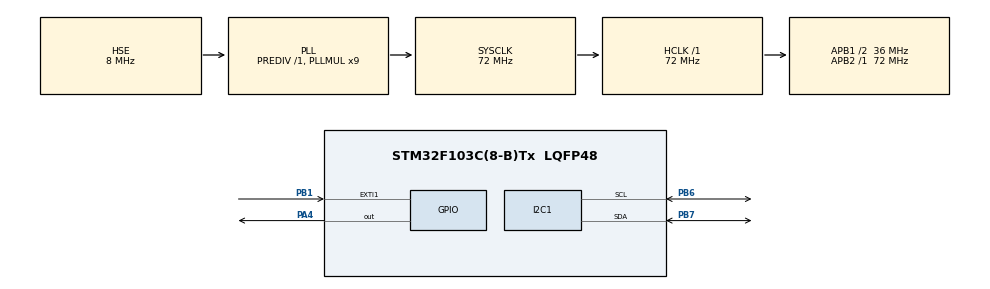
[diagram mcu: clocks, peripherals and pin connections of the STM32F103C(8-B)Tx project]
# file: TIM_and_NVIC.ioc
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Mcu.Family=STM32F1
Mcu.Name=STM32F103C(8-B)Tx
Mcu.Package=LQFP48
NVIC.EXTI1_IRQn=true\:15\:0\:true\:false\:true\:true\:true\:true
NVIC.PriorityGroup=NVIC_PRIORITYGROUP_4
NVIC.TIM2_IRQn=true\:0\:0\:false\:false\:true\:true\:true\:true
PA13.Mode=Serial_Wire
PA13.Signal=SYS_JTMS-SWDIO
PA14.Mode=Serial_Wire
PA14.Signal=SYS_JTCK-SWCLK
PA4.PinState=GPIO_PIN_SET
PA4.Signal=GPIO_Output
PB1.GPIO_ModeDefaultEXTI=GPIO_MODE_IT_FALLING
PB1.GPIO_PuPd=GPIO_PULLUP
PB1.Signal=GPXTI1
PB6.Mode=I2C
PB6.Signal=I2C1_SCL
PB7.Mode=I2C
PB7.Signal=I2C1_SDA
PD0-OSC_IN.Mode=HSE-External-Oscillator
PD0-OSC_IN.Signal=RCC_OSC_IN
PD1-OSC_OUT.Mode=HSE-External-Oscillator
PD1-OSC_OUT.Signal=RCC_OSC_OUT
ProjectManager.HeapSize=0x200
ProjectManager.StackSize=0x400
ProjectManager.TargetToolchain=STM32CubeIDE
RCC.AHBFreq_Value=72000000
RCC.APB1CLKDivider=RCC_HCLK_DIV2
RCC.APB1Freq_Value=36000000
RCC.APB1TimFreq_Value=72000000
RCC.APB2Freq_Value=72000000
RCC.APB2TimFreq_Value=72000000
RCC.HCLKFreq_Value=72000000
RCC.PLLMUL=RCC_PLL_MUL9
RCC.PLLSourceVirtual=RCC_PLLSOURCE_HSE
RCC.SYSCLKFreq_VALUE=72000000
RCC.SYSCLKSource=RCC_SYSCLKSOURCE_PLLCLK
RCC.USBFreq_Value=72000000
TIM2.AutoReloadPreload=TIM_AUTORELOAD_PRELOAD_ENABLE
TIM2.Period=10000-1
TIM2.Prescaler=7200-1
VP_TIM2_VS_ClockSourceINT.Mode=Internal
board=custom

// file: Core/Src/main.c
/* USER CODE BEGIN Header */
/**
  ******************************************************************************
  * @file           : main.c
  * @brief          : Main program body
  ******************************************************************************
  * @attention
  *
  * Copyright (c) 2025 STMicroelectronics.
  * All rights reserved.
  *
  * This software is licensed under terms that can be found in the LICENSE file
  * in the root directory of this software component.
  * If no LICENSE file comes with this software, it is provided AS-IS.
  *
  ******************************************************************************
  */
/* USER CODE END Header */
#include "main.h"
#include "i2c.h"
#include "tim.h"
#include "gpio.h"

/* USER CODE BEGIN Includes */
#include "oled.h"
#include<stdio.h>
#include<string.h>
/* USER CODE END Includes */

/* USER CODE BEGIN PTD */
typedef enum{
	MODE_1Hz = 0,
	MODE_05Hz,
	MODE_02Hz,
}MODE;
/* USER CODE END PTD */

/* USER CODE BEGIN PV */
int mode = 0;
char message[20] = "";
int modeARR[] = {10000-1,5000-1,2000-1};
int counter = 0;
/* USER CODE END PV */

void SystemClock_Config(void);

/* USER CODE BEGIN 0 */
void HAL_GPIO_EXTI_Callback(uint16_t GPIO_Pin)
{
	if(HAL_GPIO_ReadPin(GPIOB, GPIO_PIN_1) == GPIO_PIN_RESET){
		HAL_Delay(10);
		if(HAL_GPIO_ReadPin(GPIOB, GPIO_PIN_1) == GPIO_PIN_RESET){
			mode=(mode+1)%3;
			HAL_TIM_Base_Stop_IT(&htim2);
			__HAL_TIM_SET_AUTORELOAD(&htim2,modeARR[mode]);
			__HAL_TIM_SET_COUNTER(&htim2,0);
			HAL_TIM_Base_Start_IT(&htim2);
//			HAL_GPIO_TogglePin(GPIOA, GPIO_PIN_4);
		}
	}
}

void HAL_TIM_PeriodElapsedCallback(TIM_HandleTypeDef *htim)
{
	HAL_GPIO_TogglePin(GPIOA, GPIO_PIN_4);
}
/* USER CODE END 0 */

int main(void)
{

  /* MCU Configuration--------------------------------------------------------*/

  /* Reset of all peripherals, Initializes the Flash interface and the Systick. */
  HAL_Init();

  /* Configure the system clock */
  SystemClock_Config();

  /* Initialize all configured peripherals */
  MX_GPIO_Init();
  MX_TIM2_Init();
  MX_I2C1_Init();
  /* USER CODE BEGIN 2 */
  OLED_Init();
  HAL_TIM_Base_Start_IT(&htim2);
  /* USER CODE END 2 */

  /* Infinite loop */
  /* USER CODE BEGIN WHILE */
  while (1)
  {
	  counter = __HAL_TIM_GET_COUNTER(&htim2);
	  OLED_NewFrame();

	  sprintf(message,"mode: %d",mode);
	  OLED_PrintString(0, 0, message, &font16x16, OLED_COLOR_NORMAL);
	  sprintf(message,"counter: %d",counter);
	  OLED_PrintString(0, 20, message, &font16x16, OLED_COLOR_NORMAL);

	  OLED_ShowFrame();

    /* USER CODE END WHILE */

  }
}

void SystemClock_Config(void)
{
  RCC_OscInitTypeDef RCC_OscInitStruct = {0};
  RCC_ClkInitTypeDef RCC_ClkInitStruct = {0};

  /** Initializes the RCC Oscillators according to the specified parameters
  * in the RCC_OscInitTypeDef structure.
  */
  RCC_OscInitStruct.OscillatorType = RCC_OSCILLATORTYPE_HSE;
  RCC_OscInitStruct.HSEState = RCC_HSE_ON;
  RCC_OscInitStruct.HSEPredivValue = RCC_HSE_PREDIV_DIV1;
  RCC_OscInitStruct.HSIState = RCC_HSI_ON;
  RCC_OscInitStruct.PLL.PLLState = RCC_PLL_ON;
  RCC_OscInitStruct.PLL.PLLSource = RCC_PLLSOURCE_HSE;
  RCC_OscInitStruct.PLL.PLLMUL = RCC_PLL_MUL9;
  if (HAL_RCC_OscConfig(&RCC_OscInitStruct) != HAL_OK)
  {
    Error_Handler();
  }

  /** Initializes the CPU, AHB and APB buses clocks
  */
  RCC_ClkInitStruct.ClockType = RCC_CLOCKTYPE_HCLK|RCC_CLOCKTYPE_SYSCLK
                              |RCC_CLOCKTYPE_PCLK1|RCC_CLOCKTYPE_PCLK2;
  RCC_ClkInitStruct.SYSCLKSource = RCC_SYSCLKSOURCE_PLLCLK;
  RCC_ClkInitStruct.AHBCLKDivider = RCC_SYSCLK_DIV1;
  RCC_ClkInitStruct.APB1CLKDivider = RCC_HCLK_DIV2;
  RCC_ClkInitStruct.APB2CLKDivider = RCC_HCLK_DIV1;

  if (HAL_RCC_ClockConfig(&RCC_ClkInitStruct, FLASH_LATENCY_2) != HAL_OK)
  {
    Error_Handler();
  }
}

void Error_Handler(void)
{
  __disable_irq();
  while (1)
  {
  }
}
